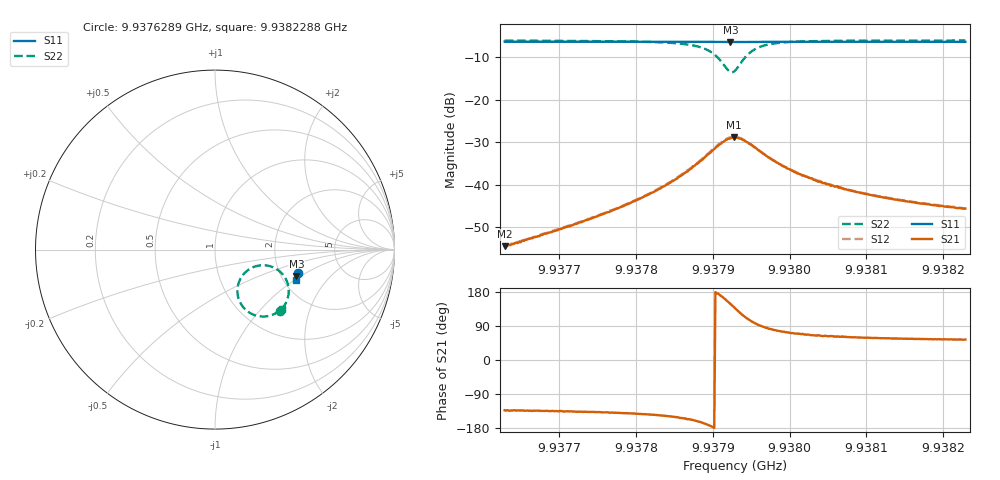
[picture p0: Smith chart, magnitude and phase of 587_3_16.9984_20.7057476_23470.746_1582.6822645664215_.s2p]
#  HZ  S  RI  R  50.00
! Rohde & Schwarz Vector Network Analyzer
! Rohde-Schwarz,ZNB20-2Port,1311601062101988,3.16
! Created: UTC 3/20/2024, 11:18:22 PM
! freq[Hz]  re:S11  im:S11  re:S21  im:S21  re:S12  im:S12  re:S22  im:S22
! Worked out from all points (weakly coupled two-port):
!   401 points, 9.9376289 GHz to 9.9382288 GHz, reference 50 ohm
!   highest |S21| = -28.89 dB at 9.9379274 GHz (marker M1); lowest = -54.5 dB at 9.9376289 GHz (marker M2)
!   lowest |S11| = -6.4 dB at 9.9379229 GHz (marker M3), VSWR 2.82, Z = 121 - j45.9 ohm
!   |S11| at or under -10 dB: nowhere
!   |S22| runs from -13.6 to -6.1 dB; largest |S21 - S12| = 0.0016
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9.93762889e9  0.4644 -0.13  -0.00127 -0.00139  -0.0013 -0.00139  0.3595 -0.3405
9.93772938e9  0.4619 -0.1368  -0.00263 -0.0025  -0.0027 -0.00252  0.3422 -0.3525
9.93778637e9  0.4602 -0.1406  -0.00444 -0.00366  -0.00456 -0.00367  0.3234 -0.3616
9.93782987e9  0.459 -0.1437  -0.00734 -0.00501  -0.00756 -0.00495  0.2964 -0.3702
9.93785986e9  0.4576 -0.1459  -0.0116 -0.00588  -0.0119 -0.00588  0.26 -0.3728
9.93788986e9  0.4559 -0.148  -0.0206 -0.00434  -0.0212 -0.00406  0.1877 -0.3486
9.93790036e9  0.4549 -0.1481  -0.0255 -0.00115  -0.0263 -0.000534  0.1525 -0.3146
9.93791086e9  0.4539 -0.1482  -0.0299 0.00591  -0.0307 0.00693  0.1265 -0.2517
9.93791836e9  0.4535 -0.1478  -0.0311 0.0135  -0.0314 0.0148  0.1307 -0.1892
9.93792285e9  0.4533 -0.1473  -0.0298 0.0185  -0.03 0.0199  0.1484 -0.151
9.93792735e9  0.4535 -0.1471  -0.0274 0.0233  -0.0269 0.0246  0.1776 -0.1189
9.93792885e9  0.4535 -0.147  -0.026 0.0245  -0.0256 0.026  0.1897 -0.1104
9.93793635e9  0.4542 -0.1467  -0.0187 0.0292  -0.0179 0.0302  0.2548 -0.0876
9.93794535e9  0.455 -0.147  -0.00995 0.0297  -0.00894 0.0303  0.3238 -0.0986
9.93795285e9  0.4556 -0.1477  -0.00459 0.0277  -0.00368 0.0281  0.3629 -0.1233
9.93796185e9  0.4556 -0.1485  -0.000136 0.0244  0.000543 0.0247  0.3897 -0.1556
9.93797535e9  0.456 -0.1498  0.00295 0.0199  0.00353 0.02  0.4068 -0.196
9.93799485e9  0.4557 -0.1515  0.00457 0.0153  0.00487 0.0153  0.4109 -0.2359
9.93802934e9  0.4548 -0.1544  0.00494 0.0108  0.00509 0.0106  0.4042 -0.2741
9.93807433e9  0.4538 -0.1577  0.00425 0.00759  0.00446 0.0076  0.3939 -0.2986
9.93812983e9  0.4524 -0.1613  0.0037 0.00575  0.00389 0.00578  0.3841 -0.3148
9.93822881e9  0.4496 -0.1679  0.00307 0.00421  0.00318 0.00418  0.3717 -0.3307
